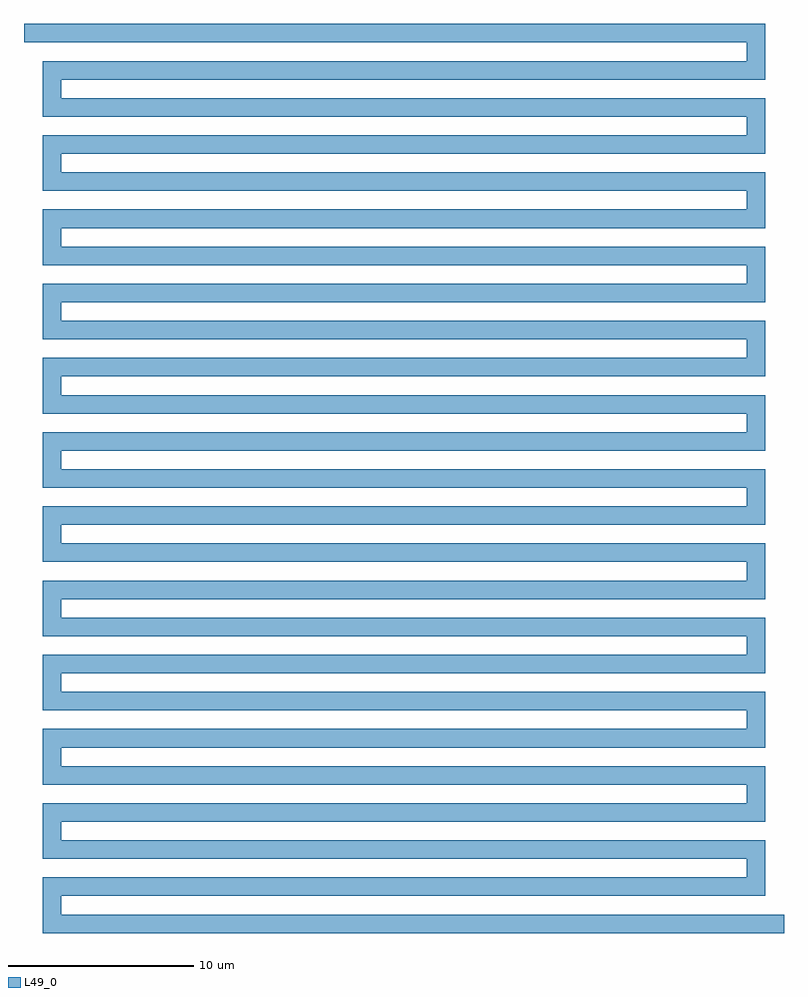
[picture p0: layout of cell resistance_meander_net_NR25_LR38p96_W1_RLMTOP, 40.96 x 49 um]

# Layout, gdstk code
from math import pi, radians
import gdstk
lib = gdstk.Library(unit=1e-6, precision=1e-09)
def R(c, l, rs):  # rectangles x0, y0, x1, y1
    for r in rs: c.add(gdstk.rectangle(r[:2], r[2:], *l))
L49_0 = (49, 0)

rectangle_gdsfactorypcom = lib.new_cell('rectangle_gdsfactorypcomponentspshapesprectangle_S38p96_92bf575a')
R(rectangle_gdsfactorypcom, L49_0, [(0,0,38.96,1)])

c_rectangle_gdsfactorypcom = lib.new_cell('rectangle_gdsfactorypcomponentspshapesprectangle_S1_1_L_eeafcd24')
R(c_rectangle_gdsfactorypcom, L49_0, [(0,0,1,1)])

resistance_meander_row_l = lib.new_cell('resistance_meander_row_LR38p96_W1_RLMTOP')
resistance_meander_row_l.add(gdstk.Reference(rectangle_gdsfactorypcom, (0,0)))
resistance_meander_row_l.add(gdstk.Reference(c_rectangle_gdsfactorypcom, (37.96,-1)))

resistance_meander_net_n = lib.new_cell('resistance_meander_net_NR25_LR38p96_W1_RLMTOP')
resistance_meander_net_n.add(gdstk.Reference(resistance_meander_row_l, (0,0)))
resistance_meander_net_n.add(gdstk.Reference(resistance_meander_row_l, (38.96,-2), rotation=pi, x_reflection=True))
resistance_meander_net_n.add(gdstk.Reference(resistance_meander_row_l, (0,-4)))
resistance_meander_net_n.add(gdstk.Reference(resistance_meander_row_l, (38.96,-6), rotation=pi, x_reflection=True))
resistance_meander_net_n.add(gdstk.Reference(resistance_meander_row_l, (0,-8)))
resistance_meander_net_n.add(gdstk.Reference(resistance_meander_row_l, (38.96,-10), rotation=pi, x_reflection=True))
resistance_meander_net_n.add(gdstk.Reference(resistance_meander_row_l, (0,-12)))
resistance_meander_net_n.add(gdstk.Reference(resistance_meander_row_l, (38.96,-14), rotation=pi, x_reflection=True))
resistance_meander_net_n.add(gdstk.Reference(resistance_meander_row_l, (0,-16)))
resistance_meander_net_n.add(gdstk.Reference(resistance_meander_row_l, (38.96,-18), rotation=pi, x_reflection=True))
resistance_meander_net_n.add(gdstk.Reference(resistance_meander_row_l, (0,-20)))
resistance_meander_net_n.add(gdstk.Reference(resistance_meander_row_l, (38.96,-22), rotation=pi, x_reflection=True))
resistance_meander_net_n.add(gdstk.Reference(resistance_meander_row_l, (0,-24)))
resistance_meander_net_n.add(gdstk.Reference(resistance_meander_row_l, (38.96,-26), rotation=pi, x_reflection=True))
resistance_meander_net_n.add(gdstk.Reference(resistance_meander_row_l, (0,-28)))
resistance_meander_net_n.add(gdstk.Reference(resistance_meander_row_l, (38.96,-30), rotation=pi, x_reflection=True))
resistance_meander_net_n.add(gdstk.Reference(resistance_meander_row_l, (0,-32)))
resistance_meander_net_n.add(gdstk.Reference(resistance_meander_row_l, (38.96,-34), rotation=pi, x_reflection=True))
resistance_meander_net_n.add(gdstk.Reference(resistance_meander_row_l, (0,-36)))
resistance_meander_net_n.add(gdstk.Reference(resistance_meander_row_l, (38.96,-38), rotation=pi, x_reflection=True))
resistance_meander_net_n.add(gdstk.Reference(resistance_meander_row_l, (0,-40)))
resistance_meander_net_n.add(gdstk.Reference(resistance_meander_row_l, (38.96,-42), rotation=pi, x_reflection=True))
resistance_meander_net_n.add(gdstk.Reference(resistance_meander_row_l, (0,-44)))
resistance_meander_net_n.add(gdstk.Reference(resistance_meander_row_l, (38.96,-46), rotation=pi, x_reflection=True))
resistance_meander_net_n.add(gdstk.Reference(rectangle_gdsfactorypcom, (0,-48)))
resistance_meander_net_n.add(gdstk.Reference(c_rectangle_gdsfactorypcom, (-1,0)))
resistance_meander_net_n.add(gdstk.Reference(c_rectangle_gdsfactorypcom, (38.96,-48)))

lib.write_gds('resistance_meander_net_NR25_LR38p96_W1_RLMTOP.gds')
